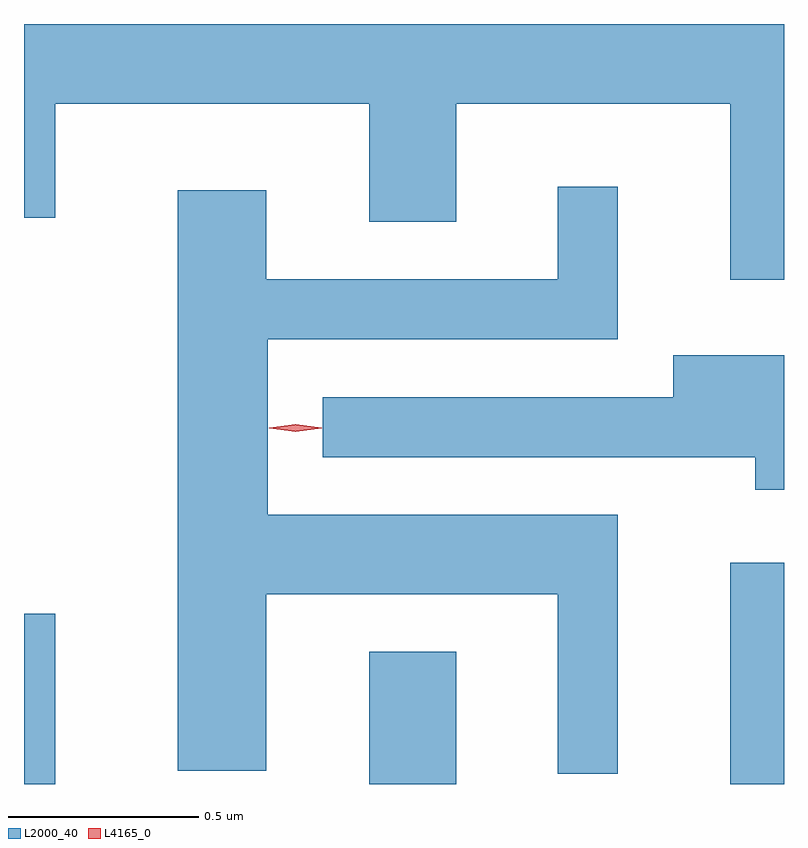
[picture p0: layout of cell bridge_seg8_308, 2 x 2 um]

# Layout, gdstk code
import gdstk
lib = gdstk.Library(unit=1e-6, precision=1e-09)
def R(c, l, rs):  # rectangles x0, y0, x1, y1
    for r in rs: c.add(gdstk.rectangle(r[:2], r[2:], *l))
def P(c, l, *ps):  # polygons
    for p in ps: c.add(gdstk.Polygon(p, *l))
L2000_40 = (2000, 40)
L4165_0 = (4165, 0)

bridge_seg8_308 = lib.new_cell('bridge_seg8_308')
R(bridge_seg8_308, L2000_40, [(1394.082,1856.826,1394.164,1857.274), (1394.991,1856.826,1395.219,1857.174), (1395.941,1856.826,1396.082,1857.408)])
P(bridge_seg8_308, L2000_40, [(1396.082,1858.826),(1394.082,1858.826),(1394.082,1858.316),(1394.164,1858.316),(1394.164,1858.616),(1394.991,1858.616),(1394.991,1858.306),(1395.219,1858.306),(1395.219,1858.616),(1395.941,1858.616),(1395.941,1858.153),(1396.082,1858.153)],
  [(1395.644,1857.534),(1394.724,1857.534),(1394.724,1857.996),(1395.644,1857.996),(1395.644,1858.398),(1395.486,1858.398),(1395.486,1858.154),(1394.719,1858.154),(1394.719,1858.389),(1394.486,1858.389),(1394.486,1856.861),(1394.719,1856.861),(1394.719,1857.326),(1395.486,1857.326),(1395.486,1856.853),(1395.644,1856.853)],
  [(1396.082,1857.954),(1395.791,1857.954),(1395.791,1857.844),(1394.868,1857.844),(1394.868,1857.686),(1396.006,1857.686),(1396.006,1857.601),(1396.082,1857.601)])
P(bridge_seg8_308, L4165_0, [(1394.796,1857.753),(1394.73,1857.762),(1394.73,1857.763),(1394.73,1857.763),(1394.796,1857.773),(1394.862,1857.763),(1394.863,1857.763),(1394.862,1857.762)],
  [(1394.797,1857.753),(1394.728,1857.762),(1394.727,1857.763),(1394.728,1857.763),(1394.797,1857.773),(1394.866,1857.763),(1394.866,1857.763),(1394.866,1857.762)])

lib.write_gds('bridge_seg8_308.gds')
